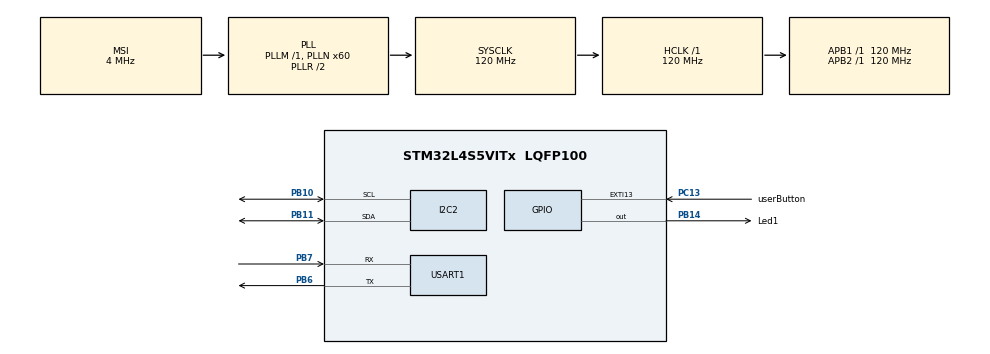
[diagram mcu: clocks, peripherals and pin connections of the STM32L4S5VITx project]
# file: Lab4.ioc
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FREERTOS.Mutexes01=bufMutex,Dynamic,NULL;sensorMutex,Dynamic,NULL
FREERTOS.Tasks01=readSensor,0,128,StartReadSensor,Default,NULL,Dynamic,NULL,NULL;handleButton,0,128,StartHandleButton,Default,NULL,Dynamic,NULL,NULL;printSerial,0,128,StartPrintSerial,Default,NULL,Dynamic,NULL,NULL
I2C2.Timing=0x307075B1
Mcu.Family=STM32L4
Mcu.Name=STM32L4S5VITx
Mcu.Package=LQFP100
NVIC.PriorityGroup=NVIC_PRIORITYGROUP_4
NVIC.TIM6_DAC_IRQn=true\:15\:0\:false\:false\:true\:false\:false\:true\:true
NVIC.TimeBase=TIM6_DAC_IRQn
NVIC.TimeBaseIP=TIM6
PA13\ (JTMS/SWDIO).Signal=SYS_JTMS-SWDIO
PA14\ (JTCK/SWCLK).Signal=SYS_JTCK-SWCLK
PB10.Mode=I2C
PB10.Signal=I2C2_SCL
PB11.Mode=I2C
PB11.Signal=I2C2_SDA
PB14.GPIO_Label=Led1
PB14.Signal=GPIO_Output
PB3\ (JTDO/TRACESWO).Signal=SYS_JTDO-SWO
PB6.Mode=Asynchronous
PB6.Signal=USART1_TX
PB7.Mode=Asynchronous
PB7.Signal=USART1_RX
PC13.GPIO_Label=userButton
PC13.Signal=GPXTI13
ProjectManager.HeapSize=0x200
ProjectManager.StackSize=0x400
ProjectManager.TargetToolchain=STM32CubeIDE
RCC.ADCFreq_Value=48000000
RCC.AHBFreq_Value=120000000
RCC.APB1Freq_Value=120000000
RCC.APB1TimFreq_Value=120000000
RCC.APB2Freq_Value=120000000
RCC.APB2TimFreq_Value=120000000
RCC.CortexFreq_Value=120000000
RCC.HCLKFreq_Value=120000000
RCC.HSE_VALUE=8000000
RCC.HSI48_VALUE=48000000
RCC.HSI_VALUE=16000000
RCC.LSE_VALUE=32768
RCC.MSI_VALUE=4000000
RCC.PLLN=60
RCC.PLLSAI1N=24
RCC.SYSCLKFreq_VALUE=120000000
RCC.SYSCLKSource=RCC_SYSCLKSOURCE_PLLCLK
RCC.USBFreq_Value=48000000
RCC.VCOOutputFreq_Value=240000000
USART1.VirtualMode-Asynchronous=VM_ASYNC
VP_FREERTOS_VS_CMSIS_V1.Mode=CMSIS_V1
VP_SYS_VS_tim6.Mode=TIM6
board=B-L4S5I-IOT01A

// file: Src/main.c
/* USER CODE BEGIN Header */
/**
  ******************************************************************************
  * @file           : main.c
  * @brief          : Main program body
  ******************************************************************************
  * @attention
  *
  * Copyright (c) 2023 STMicroelectronics.
  * All rights reserved.
  *
  * This software is licensed under terms that can be found in the LICENSE file
  * in the root directory of this software component.
  * If no LICENSE file comes with this software, it is provided AS-IS.
  *
  ******************************************************************************
  */
/* USER CODE END Header */
#include "main.h"
#include "cmsis_os.h"

/* USER CODE BEGIN Includes */
#include <stdio.h>
#include <stm32l4s5i_iot01_accelero.h>
#include <stm32l4s5i_iot01_gyro.h>
#include <stm32l4s5i_iot01_hsensor.h>
#include <stm32l4s5i_iot01_magneto.h>

#include <string.h>
/* USER CODE END Includes */

I2C_HandleTypeDef hi2c2;

UART_HandleTypeDef huart1;

osThreadId readSensorHandle;
osThreadId handleButtonHandle;
osThreadId printSerialHandle;
osMutexId bufMutexHandle;
osMutexId sensorMutexHandle;
/* USER CODE BEGIN PV */
// printf stuff
#ifdef __GNUC__
#define PUTCHAR_PROTOTYPE int __io_putchar(int ch)
#else
#define PUTCHAR_PROTOTYPE int fputc(int ch, FILE *f)
#endif

#define MAX_BUF 50

PUTCHAR_PROTOTYPE
{
  HAL_UART_Transmit(&huart1, (uint8_t *)&ch, 1, HAL_MAX_DELAY);
  return ch;
}

// mode to indicate which sensor we are reading from
char mode;

// variables to hold sensor data
float temp_read;
uint16_t mag_read[3];
float gyro_read[3];
float bar_read;

char button_pressed;

//uint8_t buf[MAX_BUF];

/* USER CODE END PV */

void SystemClock_Config(void);
static void MX_GPIO_Init(void);
static void MX_I2C2_Init(void);
static void MX_USART1_UART_Init(void);
void StartReadSensor(void const * argument);
void StartHandleButton(void const * argument);
void StartPrintSerial(void const * argument);

/* USER CODE BEGIN 0 */

// not used once OS implemented
void HAL_GPIO_EXTI_Callback(uint16_t GPIO_Pin) { // page 391 HAL driver manual
	if (GPIO_Pin == userButton_Pin) { // verify that only the pin we want is starting this interrupt (good coding practice)
		printf("Button Pressed. \n\r");
		HAL_GPIO_TogglePin(Led1_GPIO_Port, Led1_Pin); // toggle LED as user feedback for a successful button press

		button_pressed = 1;
	}

}

/* USER CODE END 0 */

int main(void)
{
  /* USER CODE BEGIN 1 */
	mode = 0;
	button_pressed = 0;

  /* USER CODE END 1 */

  /* MCU Configuration--------------------------------------------------------*/

  /* Reset of all peripherals, Initializes the Flash interface and the Systick. */
  HAL_Init();

  /* USER CODE BEGIN Init */
  // I2C initializations
  BSP_TSENSOR_Init(); 	// Temperature sensor
  BSP_MAGNETO_Init(); 	// Magnetometer
  BSP_GYRO_Init();		// Gyroscope
  BSP_PSENSOR_Init();	// Barometer

  /* USER CODE END Init */

  /* Configure the system clock */
  SystemClock_Config();

  /* Initialize all configured peripherals */
  MX_GPIO_Init();
  MX_I2C2_Init();
  MX_USART1_UART_Init();
  /* USER CODE BEGIN 2 */

  printf("OS Starting\n\r");
  printf("OS Starting\n\r");
  printf("OS Starting\n\r");
  printf("OS Starting\n\r");
  printf("OS Starting\n\r");
  /* USER CODE END 2 */

  /* Create the mutex(es) */
  /* definition and creation of bufMutex */
  osMutexDef(bufMutex);
  bufMutexHandle = osMutexCreate(osMutex(bufMutex));

  /* definition and creation of sensorMutex */
  osMutexDef(sensorMutex);
  sensorMutexHandle = osMutexCreate(osMutex(sensorMutex));

  /* Create the thread(s) */
  /* definition and creation of readSensor */
  osThreadDef(readSensor, StartReadSensor, osPriorityNormal, 0, 128);
  readSensorHandle = osThreadCreate(osThread(readSensor), NULL);

  /* definition and creation of handleButton */
  osThreadDef(handleButton, StartHandleButton, osPriorityNormal, 0, 128);
  handleButtonHandle = osThreadCreate(osThread(handleButton), NULL);

  /* definition and creation of printSerial */
  osThreadDef(printSerial, StartPrintSerial, osPriorityNormal, 0, 128);
  printSerialHandle = osThreadCreate(osThread(printSerial), NULL);

  /* Start scheduler */
  osKernelStart();

  /* We should never get here as control is now taken by the scheduler */
  /* Infinite loop */
  /* USER CODE BEGIN WHILE */
  while (1)
  {

	  // Not used once OS implemented
//	  switch (mode){
//	  		case 0:
//	  			temp_read = BSP_TSENSOR_ReadTemp();
//	  			printf("Temperature: %f\r", temp_read);
//	  		case 1:
//	  			BSP_MAGNETO_GetXYZ(&mag_read);
//	  			printf("Magnetometer: [%d, %d, %d]\r", mag_read[0], mag_read[1], mag_read[2]);
//	  		case 2:
//	  			BSP_GYRO_GetXYZ(&gyro_read);
//	  			printf("Gyroscope: [%f, %f, %f]\r", gyro_read[0], gyro_read[1], gyro_read[2]);
//	  		case 3:
//	  			bar_read = BSP_PSENSOR_ReadPressure();
//	  			printf("Pressure: %f\r", bar_read);
//	  		}
//
//	  HAL_Delay(100); // documentation says HAL_Delay() takes milliseconds as input, so this is a 10Hz sample rate

    /* USER CODE END WHILE */

  }
}

void SystemClock_Config(void)
{
  RCC_OscInitTypeDef RCC_OscInitStruct = {0};
  RCC_ClkInitTypeDef RCC_ClkInitStruct = {0};

  /** Configure the main internal regulator output voltage
  */
  if (HAL_PWREx_ControlVoltageScaling(PWR_REGULATOR_VOLTAGE_SCALE1_BOOST) != HAL_OK)
  {
    Error_Handler();
  }

  /** Initializes the RCC Oscillators according to the specified parameters
  * in the RCC_OscInitTypeDef structure.
  */
  RCC_OscInitStruct.OscillatorType = RCC_OSCILLATORTYPE_MSI;
  RCC_OscInitStruct.MSIState = RCC_MSI_ON;
  RCC_OscInitStruct.MSICalibrationValue = 0;
  RCC_OscInitStruct.MSIClockRange = RCC_MSIRANGE_6;
  RCC_OscInitStruct.PLL.PLLState = RCC_PLL_ON;
  RCC_OscInitStruct.PLL.PLLSource = RCC_PLLSOURCE_MSI;
  RCC_OscInitStruct.PLL.PLLM = 1;
  RCC_OscInitStruct.PLL.PLLN = 60;
  RCC_OscInitStruct.PLL.PLLP = RCC_PLLP_DIV2;
  RCC_OscInitStruct.PLL.PLLQ = RCC_PLLQ_DIV2;
  RCC_OscInitStruct.PLL.PLLR = RCC_PLLR_DIV2;
  if (HAL_RCC_OscConfig(&RCC_OscInitStruct) != HAL_OK)
  {
    Error_Handler();
  }

  /** Initializes the CPU, AHB and APB buses clocks
  */
  RCC_ClkInitStruct.ClockType = RCC_CLOCKTYPE_HCLK|RCC_CLOCKTYPE_SYSCLK
                              |RCC_CLOCKTYPE_PCLK1|RCC_CLOCKTYPE_PCLK2;
  RCC_ClkInitStruct.SYSCLKSource = RCC_SYSCLKSOURCE_PLLCLK;
  RCC_ClkInitStruct.AHBCLKDivider = RCC_SYSCLK_DIV1;
  RCC_ClkInitStruct.APB1CLKDivider = RCC_HCLK_DIV1;
  RCC_ClkInitStruct.APB2CLKDivider = RCC_HCLK_DIV1;

  if (HAL_RCC_ClockConfig(&RCC_ClkInitStruct, FLASH_LATENCY_5) != HAL_OK)
  {
    Error_Handler();
  }
}

static void MX_I2C2_Init(void)
{

  hi2c2.Instance = I2C2;
  hi2c2.Init.Timing = 0x307075B1;
  hi2c2.Init.OwnAddress1 = 0;
  hi2c2.Init.AddressingMode = I2C_ADDRESSINGMODE_7BIT;
  hi2c2.Init.DualAddressMode = I2C_DUALADDRESS_DISABLE;
  hi2c2.Init.OwnAddress2 = 0;
  hi2c2.Init.OwnAddress2Masks = I2C_OA2_NOMASK;
  hi2c2.Init.GeneralCallMode = I2C_GENERALCALL_DISABLE;
  hi2c2.Init.NoStretchMode = I2C_NOSTRETCH_DISABLE;
  if (HAL_I2C_Init(&hi2c2) != HAL_OK)
  {
    Error_Handler();
  }

  /** Configure Analogue filter
  */
  if (HAL_I2CEx_ConfigAnalogFilter(&hi2c2, I2C_ANALOGFILTER_ENABLE) != HAL_OK)
  {
    Error_Handler();
  }

  /** Configure Digital filter
  */
  if (HAL_I2CEx_ConfigDigitalFilter(&hi2c2, 0) != HAL_OK)
  {
    Error_Handler();
  }

}

static void MX_USART1_UART_Init(void)
{

  huart1.Instance = USART1;
  huart1.Init.BaudRate = 115200;
  huart1.Init.WordLength = UART_WORDLENGTH_8B;
  huart1.Init.StopBits = UART_STOPBITS_1;
  huart1.Init.Parity = UART_PARITY_NONE;
  huart1.Init.Mode = UART_MODE_TX_RX;
  huart1.Init.HwFlowCtl = UART_HWCONTROL_NONE;
  huart1.Init.OverSampling = UART_OVERSAMPLING_16;
  huart1.Init.OneBitSampling = UART_ONE_BIT_SAMPLE_DISABLE;
  huart1.Init.ClockPrescaler = UART_PRESCALER_DIV1;
  huart1.AdvancedInit.AdvFeatureInit = UART_ADVFEATURE_NO_INIT;
  if (HAL_UART_Init(&huart1) != HAL_OK)
  {
    Error_Handler();
  }
  if (HAL_UARTEx_SetTxFifoThreshold(&huart1, UART_TXFIFO_THRESHOLD_1_8) != HAL_OK)
  {
    Error_Handler();
  }
  if (HAL_UARTEx_SetRxFifoThreshold(&huart1, UART_RXFIFO_THRESHOLD_1_8) != HAL_OK)
  {
    Error_Handler();
  }
  if (HAL_UARTEx_DisableFifoMode(&huart1) != HAL_OK)
  {
    Error_Handler();
  }

}

static void MX_GPIO_Init(void)
{
  GPIO_InitTypeDef GPIO_InitStruct = {0};

  /* GPIO Ports Clock Enable */
  __HAL_RCC_GPIOC_CLK_ENABLE();
  __HAL_RCC_GPIOB_CLK_ENABLE();
  __HAL_RCC_GPIOA_CLK_ENABLE();

  /*Configure GPIO pin Output Level */
  HAL_GPIO_WritePin(Led1_GPIO_Port, Led1_Pin, GPIO_PIN_RESET);

  /*Configure GPIO pin : userButton_Pin */
  GPIO_InitStruct.Pin = userButton_Pin;
  GPIO_InitStruct.Mode = GPIO_MODE_IT_RISING;
  GPIO_InitStruct.Pull = GPIO_NOPULL;
  HAL_GPIO_Init(userButton_GPIO_Port, &GPIO_InitStruct);

  /*Configure GPIO pin : Led1_Pin */
  GPIO_InitStruct.Pin = Led1_Pin;
  GPIO_InitStruct.Mode = GPIO_MODE_OUTPUT_PP;
  GPIO_InitStruct.Pull = GPIO_NOPULL;
  GPIO_InitStruct.Speed = GPIO_SPEED_FREQ_LOW;
  HAL_GPIO_Init(Led1_GPIO_Port, &GPIO_InitStruct);

}

void StartReadSensor(void const * argument)
{
  /* USER CODE BEGIN 5 */
  /* Infinite loop */
	for(;;) {
		  osDelay(100); // 10 Hz sample rate

		  // Get new readings
		  if (mode == 0) {
			  //printf("Reading temp \n\r");
			  temp_read = BSP_TSENSOR_ReadTemp();
		  } else if (mode == 1) {
			  //printf("Reading magneto \n\r");
			  BSP_MAGNETO_GetXYZ(&mag_read);
		  } else if (mode == 2) {
			  //printf("Reading gyro \n\r");
			  BSP_GYRO_GetXYZ(&gyro_read);
		  } else {
			  //printf("Reading bsp \n\r");
			  bar_read = BSP_PSENSOR_ReadPressure();
		  }

	  }
  /* USER CODE END 5 */
}

void StartHandleButton(void const * argument)
{
  /* USER CODE BEGIN StartHandleButton */
  /* Infinite loop */
  for(;;) {
	  osDelay(1); //1kHz

	  // check if button was pressed and change mode
  	  if (button_pressed == 1) {
  		  mode = (mode + 1)%4;

  		  switch (mode){
  		  case 0:
  			  printf("Now reading thermometer.\n\r");
  		  case 1:
  			  printf("Now reading gyroscope.\n\r");
  		  case 2:
  			  printf("Now reading magnetometer.\n\r");
  		  case 3:
  			  printf("Now reading barometer.\n\r");
  		  }
  		  button_pressed = 0;
  	  }
  }

  /* USER CODE END StartHandleButton */
}

void StartPrintSerial(void const * argument)
{
  /* USER CODE BEGIN StartPrintSerial */
  /* Infinite loop */
  for(;;)
  {
	  osDelay(100);
	  printf("Printing to serial terminal \n\r");

	  	// Send to serial terminal
//	    osMutexWait(bufMutexHandle, osWaitForever);

	    if (mode == 0) {
	    	printf("Thermometer: %f\n\r", temp_read);
	    } else if (mode == 1) {
	    	printf("Magnetometer: [%d, %d, %d]\n\r", mag_read[0], mag_read[1], mag_read[2]);
	    } else if (mode == 2) {
	    	printf("Gyroscope: [%f, %f, %f]\n\r", gyro_read[0], gyro_read[1], gyro_read[2]);
	    } else {
	    	printf("Barometer: %f\n\r", bar_read);
	    }

//	  	osMutexRelease(bufMutexHandle);
  }
  /* USER CODE END StartPrintSerial */
}

void HAL_TIM_PeriodElapsedCallback(TIM_HandleTypeDef *htim)
{
  if (htim->Instance == TIM6) {
    HAL_IncTick();
  }
}

void Error_Handler(void)
{
  __disable_irq();
  while (1)
  {
  }
}
